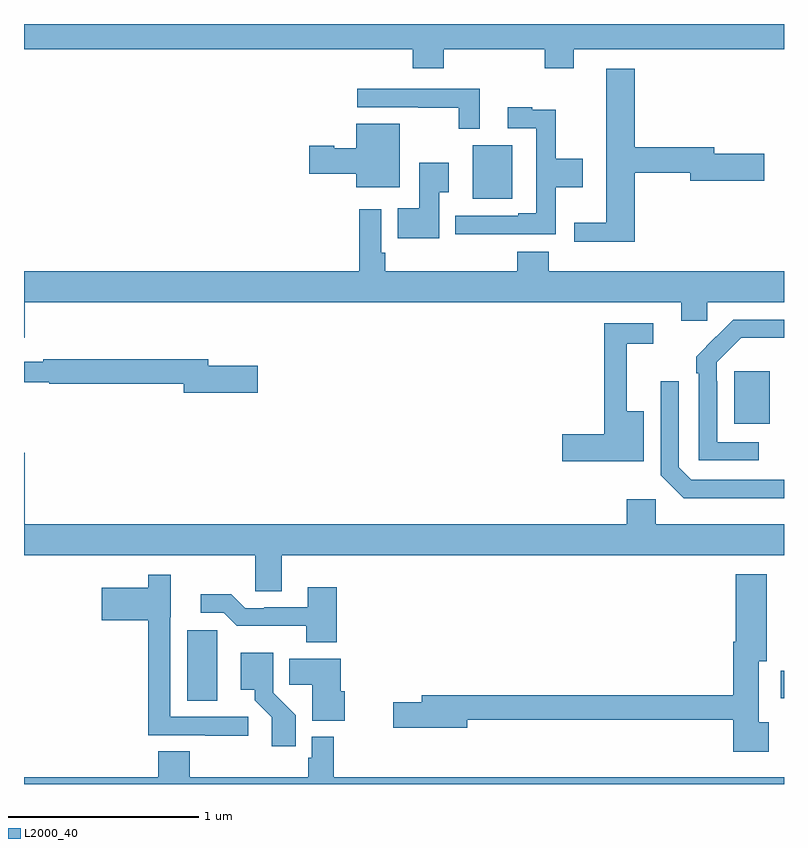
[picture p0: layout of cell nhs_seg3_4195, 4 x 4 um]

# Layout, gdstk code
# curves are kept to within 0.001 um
import gdstk
lib = gdstk.Library(unit=1e-6, precision=1e-09)
def R(c, l, rs):  # rectangles x0, y0, x1, y1
    for r in rs: c.add(gdstk.rectangle(r[:2], r[2:], *l))
def P(c, l, *ps):  # polygons
    for p in ps: c.add(gdstk.Polygon(p, *l))
L2000_40 = (2000, 40)

nhs_seg3_4195 = lib.new_cell('nhs_seg3_4195')
R(nhs_seg3_4195, L2000_40, [(333.86,678.838,334.018,679.209), (336.984,678.852,337,678.996), (336.737,680.297,336.925,680.572), (335.363,681.479,335.569,681.763)])
P(nhs_seg3_4195, L2000_40, [(335.21,682.268),(335.741,682.268),(335.741,682.166),(335.893,682.166),(335.893,682.268),(337,682.268),(337,682.4),(333,682.4),(333,682.268),(335.045,682.268),(335.045,682.166),(335.21,682.166)],
  [(336.215,681.616),(336.506,681.616),(336.506,681.574),(336.895,681.574),(336.895,681.716),(336.634,681.716),(336.634,681.752),(336.215,681.752),(336.215,682.165),(336.065,682.165),(336.065,681.353),(335.895,681.353),(335.895,681.254),(336.215,681.254)],
  [(335.398,682.059),(334.755,682.059),(334.755,681.963),(335.074,681.963),(335.074,681.958),(335.289,681.958),(335.289,681.848),(335.398,681.848)],
  [(335.513,681.294),(335.798,681.294),(335.798,681.542),(335.941,681.542),(335.941,681.69),(335.798,681.69),(335.798,681.95),(335.675,681.95),(335.675,681.961),(335.547,681.961),(335.547,681.852),(335.697,681.852),(335.697,681.403),(335.6,681.403),(335.6,681.39),(335.271,681.39),(335.271,681.293),(335.513,681.293)],
  [(334.978,681.874),(334.748,681.874),(334.748,681.745),(334.632,681.745),(334.632,681.758),(334.5,681.758),(334.5,681.611),(334.748,681.611),(334.748,681.542),(334.978,681.542)],
  [(335.185,681.514),(335.236,681.514),(335.236,681.67),(335.081,681.67),(335.081,681.43),(334.966,681.43),(334.966,681.272),(335.185,681.272)],
  [(333.004,680.936),(336.458,680.936),(336.458,680.838),(336.597,680.838),(336.597,680.936),(337,680.936),(337,681.1),(335.762,681.1),(335.762,681.202),(335.597,681.202),(335.597,681.1),(334.901,681.1),(334.901,681.196),(334.881,681.196),(334.881,681.424),(334.765,681.424),(334.765,681.1),(333,681.1),(333,680.748),(333.004,680.748)],
  [(336.868,680.199),(336.648,680.199),(336.648,680.519),(336.645,680.519),(336.645,680.619),(336.774,680.748),(337,680.748),(337,680.844),(336.734,680.844),(336.537,680.649),(336.537,680.561),(336.552,680.561),(336.552,680.103),(336.868,680.103)],
  [(336.262,680.362),(336.173,680.362),(336.173,680.718),(336.313,680.718),(336.313,680.826),(336.055,680.826),(336.055,680.24),(335.832,680.24),(335.832,680.098),(336.262,680.098)],
  [(334.231,680.601),(333.97,680.601),(333.97,680.635),(333.1,680.635),(333.1,680.622),(333,680.622),(333,680.514),(333.134,680.514),(333.134,680.506),(333.842,680.506),(333.842,680.459),(334.231,680.459)],
  [(337,680.001),(336.513,680.001),(336.447,680.067),(336.447,680.521),(336.351,680.521),(336.351,680.025),(336.472,679.904),(337,679.904)],
  [(334.357,679.604),(337,679.604),(337,679.768),(336.324,679.768),(336.324,679.9),(336.173,679.9),(336.173,679.768),(333.004,679.768),(333.004,680.143),(333,680.143),(333,679.604),(334.218,679.604),(334.218,679.414),(334.357,679.414)],
  [(336.919,678.726),(336.868,678.726),(336.868,679.046),(336.91,679.046),(336.91,679.504),(336.746,679.504),(336.746,679.15),(336.734,679.15),(336.734,678.866),(335.093,678.866),(335.093,678.83),(334.944,678.83),(334.944,678.695),(335.332,678.695),(335.332,678.738),(336.734,678.738),(336.734,678.57),(336.919,678.57)],
  [(334.18,678.753),(333.771,678.753),(333.771,679.278),(333.772,679.278),(333.772,679.501),(333.655,679.501),(333.655,679.432),(333.408,679.432),(333.408,679.262),(333.655,679.262),(333.655,678.657),(333.955,678.657),(333.955,678.655),(334.18,678.655)],
  [(334.646,679.435),(334.493,679.435),(334.493,679.329),(334.264,679.329),(334.264,679.326),(334.164,679.326),(334.091,679.399),(333.93,679.399),(333.93,679.302),(334.05,679.302),(334.121,679.232),(334.486,679.232),(334.486,679.145),(334.646,679.145)],
  [(334.43,678.762),(334.311,678.881),(334.311,679.09),(334.142,679.09),(334.142,678.896),(334.214,678.896),(334.214,678.841),(334.305,678.751),(334.305,678.6),(334.43,678.6)],
  [(334.687,678.887),(334.667,678.887),(334.667,679.06),(334.396,679.06),(334.396,678.922),(334.517,678.922),(334.517,678.734),(334.687,678.734)],
  [(337,678.436),(334.631,678.436),(334.631,678.649),(334.515,678.649),(334.515,678.537),(334.495,678.537),(334.495,678.436),(333.872,678.436),(333.872,678.572),(333.707,678.572),(333.707,678.436),(333,678.436),(333,678.4),(337,678.4)])

lib.write_gds('nhs_seg3_4195.gds')
